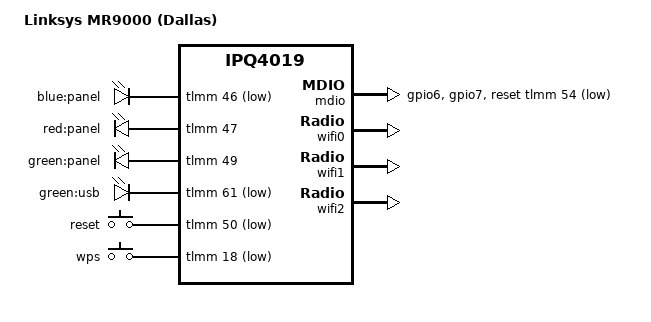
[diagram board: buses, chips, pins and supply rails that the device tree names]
// SPDX-License-Identifier: GPL-2.0-or-later OR MIT

#include "qcom-ipq4019-xx8300.dtsi"

/ {
	model = "Linksys MR9000 (Dallas)";
	compatible = "linksys,mr9000", "qcom,ipq4019";

	reserved-memory {
		#address-cells = <1>;
		#size-cells = <1>;
		ranges;

		ramoops@87500000 {
			compatible = "ramoops";
			reg = <0x87500000 0x600000>;
			console-size = <0x200000>;
			pmsg-size    = <0x200000>;
			record-size  = <0x200000>;
			ecc-size = <16>;
		};
	};
	
	aliases {
		led-boot = &led_blue;
		led-failsafe = &led_red;
		led-running = &led_green;
		led-upgrade = &led_blue;
		serial0 = &blsp1_uart1;
	};

	// Top panel LEDs, above Linksys logo
	leds {
		compatible = "gpio-leds";
		
		led_blue: blue {
			label = "blue:panel";
			gpios = <&tlmm 46 GPIO_ACTIVE_LOW>;
		};

		led_red: red {
			label = "red:panel";
			gpios = <&tlmm 47 GPIO_ACTIVE_HIGH>;
			panic-indicator;
		};

		led_green: green {
			label = "green:panel";
			gpios = <&tlmm 49 GPIO_ACTIVE_HIGH>;
		};


		// On back panel, above USB socket

		led_usb: usb {
			label = "green:usb";
			gpios = <&tlmm 61 GPIO_ACTIVE_LOW>;
			trigger-sources = <&usb3_port1>, <&usb3_port2>,
					  <&usb2_port1>;
			linux,default-trigger = "usbport";
		};
	};

	keys {
		compatible = "gpio-keys";

		reset {
			label = "reset";
			linux,code = <KEY_RESTART>;
			gpios = <&tlmm 50 GPIO_ACTIVE_LOW>;
		};

		wps {
			label = "wps";
			linux,code = <KEY_WPS_BUTTON>;
			gpios = <&tlmm 18 GPIO_ACTIVE_LOW>;
		};
	};
};

&mdio {
	status = "okay";
	pinctrl-0 = <&mdio_pins>;
	pinctrl-names = "default";
	reset-gpios = <&tlmm 54 GPIO_ACTIVE_LOW>;
	reset-delay-us = <2000>;
	reset-post-delay-us = <5000>;
};
	
&tlmm {
	status = "okay";
	mdio_pins: mdio_pinmux {
		mux_1 {
			pins = "gpio6";
			function = "mdio";
			bias-pull-up;
		};
		mux_2 {
			pins = "gpio7";
			function = "mdc";
			bias-pull-up;
		};
	};
};

&wifi0 {
	status = "okay";
	qcom,ath10k-calibration-variant = "linksys-mr9000-fcc";
};

&wifi1 {
	status = "okay";
	ieee80211-freq-limit = <5170000 5330000>;
	qcom,ath10k-calibration-variant = "linksys-mr9000-fcc";
};

&wifi2 {
	status = "okay";
	ieee80211-freq-limit = <5490000 5835000>;
	qcom,ath10k-calibration-variant = "linksys-mr9000-fcc";
};
